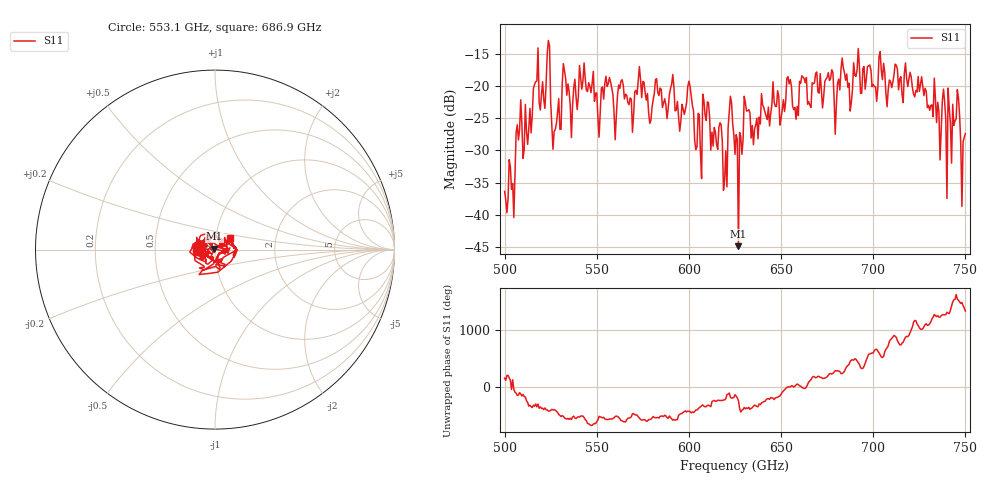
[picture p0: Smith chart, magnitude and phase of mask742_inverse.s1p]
!Created with skrf (http://scikit-rf.org).
# GHz S MA R 50.0
!freq magS11 angS11
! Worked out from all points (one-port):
!   401 points, 500 GHz to 750 GHz, reference 50 ohm
!   lowest |S11| = -44.8 dB at 626.9 GHz (marker M1), VSWR 1.01, Z = 49.7 + j0.468 ohm
!   |S11| at or under -10 dB: start of sweep to end of sweep
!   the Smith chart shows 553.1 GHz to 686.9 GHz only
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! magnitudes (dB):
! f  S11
! 500 GHz  -36.3
! 504.4 GHz  -35.1
! 507.5 GHz  -28.4
! 513.8 GHz  -23.5
! 516.9 GHz  -19.3
! 520.6 GHz  -19.3
! 523.8 GHz  -12.9
! 526.9 GHz  -27.1
! 531.2 GHz  -19.7
! 562.5 GHz  -20.4
! 590.6 GHz  -19.7
! 593.8 GHz  -22.4
! 600.6 GHz  -20.0
! 605.6 GHz  -24.5
! 608.8 GHz  -24.5
! 619.4 GHz  -34.5
! 622.5 GHz  -21.6
! 625 GHz  -30.6
! 626.9 GHz  -44.8
! 631.2 GHz  -23.9
! 635 GHz  -29.1
! 656.2 GHz  -23.2
! 680 GHz  -22.9
! 683.8 GHz  -17.2
! 687.5 GHz  -23.9
! 690.6 GHz  -18.5
! 718.8 GHz  -20.1
! 750 GHz  -27.4
